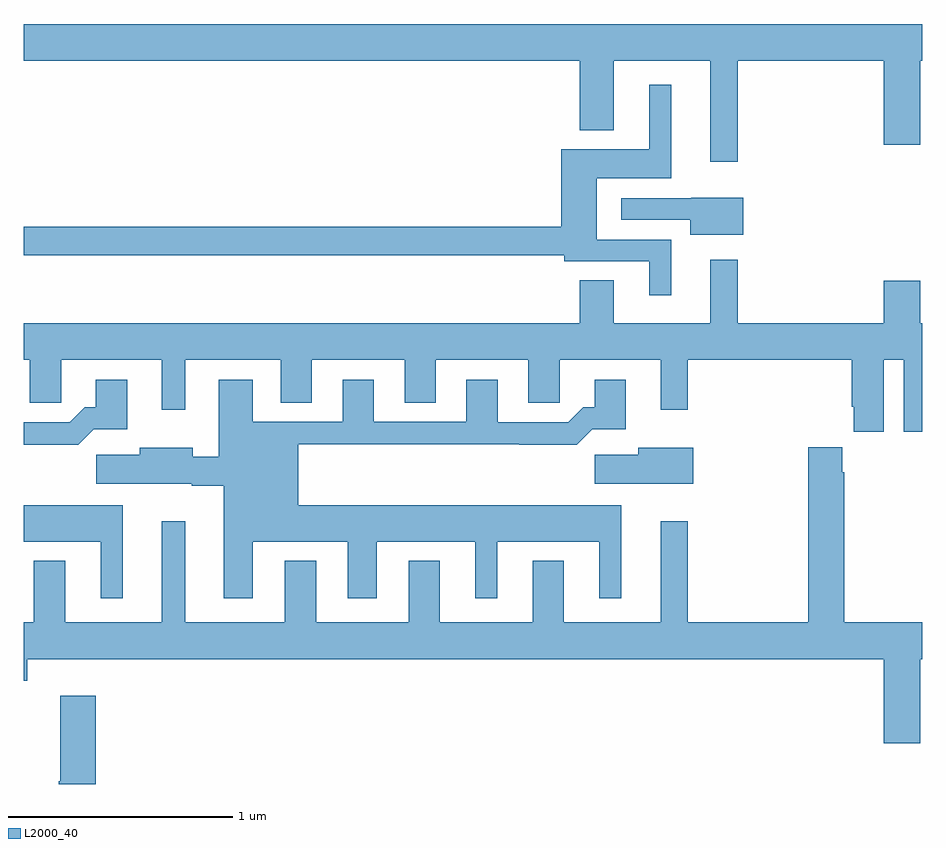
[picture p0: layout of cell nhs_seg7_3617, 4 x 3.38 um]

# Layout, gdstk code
import gdstk
lib = gdstk.Library(unit=1e-6, precision=1e-09)
def P(c, l, *ps):  # polygons
    for p in ps: c.add(gdstk.Polygon(p, *l))
L2000_40 = (2000, 40)

nhs_seg7_3617 = lib.new_cell('nhs_seg7_3617')
P(nhs_seg7_3617, L2000_40, [(341,1063.22),(343.475,1063.22),(343.475,1062.911),(343.627,1062.911),(343.627,1063.22),(344.057,1063.22),(344.057,1062.771),(344.179,1062.771),(344.179,1063.22),(344.828,1063.22),(344.828,1062.846),(344.992,1062.846),(344.992,1063.22),(345,1063.22),(345,1063.384),(341,1063.384)],
  [(343.882,1062.423),(343.552,1062.423),(343.552,1062.698),(343.882,1062.698),(343.882,1063.114),(343.784,1063.114),(343.784,1062.826),(343.394,1062.826),(343.394,1062.482),(341,1062.482),(341,1062.354),(343.406,1062.354),(343.406,1062.327),(343.784,1062.327),(343.784,1062.177),(343.882,1062.177)],
  [(344.203,1062.61),(343.971,1062.61),(343.971,1062.609),(343.659,1062.609),(343.659,1062.513),(343.967,1062.513),(343.967,1062.446),(344.203,1062.446)],
  [(344.83,1061.888),(344.918,1061.888),(344.918,1061.568),(345,1061.568),(345,1062.052),(344.992,1062.052),(344.992,1062.241),(344.828,1062.241),(344.828,1062.052),(344.179,1062.052),(344.179,1062.334),(344.057,1062.334),(344.057,1062.052),(343.627,1062.052),(343.627,1062.242),(343.475,1062.242),(343.475,1062.052),(341,1062.052),(341,1061.888),(341.027,1061.888),(341.027,1061.698),(341.166,1061.698),(341.166,1061.888),(341.615,1061.888),(341.615,1061.667),(341.719,1061.667),(341.719,1061.888),(342.143,1061.888),(342.143,1061.698),(342.283,1061.698),(342.283,1061.888),(342.695,1061.888),(342.695,1061.698),(342.835,1061.698),(342.835,1061.888),(343.247,1061.888),(343.247,1061.698),(343.386,1061.698),(343.386,1061.888),(343.835,1061.888),(343.835,1061.667),(343.957,1061.667),(343.957,1061.888),(344.687,1061.888),(344.687,1061.68),(344.696,1061.68),(344.696,1061.568),(344.83,1061.568)],
  [(342.019,1061.078),(342.443,1061.078),(342.443,1060.827),(342.571,1060.827),(342.571,1061.078),(343.01,1061.078),(343.01,1060.827),(343.108,1060.827),(343.108,1061.078),(343.562,1061.078),(343.562,1060.827),(343.66,1060.827),(343.66,1061.242),(342.223,1061.242),(342.223,1061.512),(343.207,1061.512),(343.207,1061.51),(343.463,1061.51),(343.532,1061.579),(343.681,1061.579),(343.681,1061.8),(343.541,1061.8),(343.541,1061.677),(343.492,1061.677),(343.425,1061.61),(343.111,1061.61),(343.111,1061.8),(342.971,1061.8),(342.971,1061.613),(342.559,1061.613),(342.559,1061.8),(342.419,1061.8),(342.419,1061.613),(342.019,1061.613),(342.019,1061.8),(341.867,1061.8),(341.867,1061.458),(341.752,1061.458),(341.752,1061.497),(341.516,1061.497),(341.516,1061.465),(341.322,1061.465),(341.322,1061.336),(341.748,1061.336),(341.748,1061.329),(341.891,1061.329),(341.891,1060.827),(342.019,1060.827)],
  [(341.312,1061.579),(341.461,1061.579),(341.461,1061.8),(341.321,1061.8),(341.321,1061.677),(341.272,1061.677),(341.205,1061.61),(341,1061.61),(341,1061.51),(341.243,1061.51)],
  [(344.992,1060.556),(345,1060.556),(345,1060.72),(344.652,1060.72),(344.652,1061.387),(344.645,1061.387),(344.645,1061.5),(344.492,1061.5),(344.492,1060.72),(343.957,1060.72),(343.957,1061.17),(343.835,1061.17),(343.835,1060.72),(343.405,1060.72),(343.405,1060.993),(343.265,1060.993),(343.265,1060.72),(342.853,1060.72),(342.853,1060.993),(342.713,1060.993),(342.713,1060.72),(342.301,1060.72),(342.301,1060.993),(342.161,1060.993),(342.161,1060.72),(341.719,1060.72),(341.719,1061.17),(341.615,1061.17),(341.615,1060.72),(341.185,1060.72),(341.185,1060.993),(341.045,1060.993),(341.045,1060.72),(341,1060.72),(341,1060.46),(341.015,1060.46),(341.015,1060.556),(344.828,1060.556),(344.828,1060.182),(344.992,1060.182)],
  [(343.981,1061.497),(343.736,1061.497),(343.736,1061.465),(343.542,1061.465),(343.542,1061.336),(343.981,1061.336)],
  [(341.44,1061.242),(341,1061.242),(341,1061.078),(341.342,1061.078),(341.342,1060.827),(341.44,1060.827)],
  [(341.321,1060.393),(341.162,1060.393),(341.162,1060.013),(341.155,1060.013),(341.155,1060),(341.321,1060)])

lib.write_gds('nhs_seg7_3617.gds')
